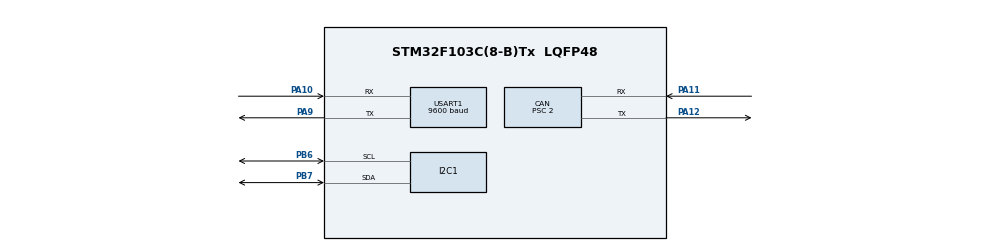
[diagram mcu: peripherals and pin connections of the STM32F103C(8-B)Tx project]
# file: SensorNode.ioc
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CAN.BS1=CAN_BS1_13TQ
CAN.BS2=CAN_BS2_2TQ
CAN.CalculateBaudRate=250000
CAN.CalculateTimeBit=4000
CAN.CalculateTimeQuantum=250.0
CAN.Prescaler=2
FREERTOS.BinarySemaphores01=UARTSem,Dynamic,NULL,Available
FREERTOS.Tasks01=DefaultTask,-3,128,StartDefaultTask,Default,NULL,Dynamic,NULL,NULL;CANTask,1,128,StartCANTask,Default,NULL,Dynamic,NULL,NULL;SensorTask,0,256,StartSensorTask,Default,NULL,Dynamic,NULL,NULL
FREERTOS.configCHECK_FOR_STACK_OVERFLOW=1
FREERTOS.configTOTAL_HEAP_SIZE=10240
Mcu.Family=STM32F1
Mcu.Name=STM32F103C(8-B)Tx
Mcu.Package=LQFP48
NVIC.PriorityGroup=NVIC_PRIORITYGROUP_4
NVIC.TIM1_UP_IRQn=true\:15\:0\:false\:false\:true\:false\:false\:true\:true
NVIC.TimeBase=TIM1_UP_IRQn
NVIC.TimeBaseIP=TIM1
NVIC.USART1_IRQn=true\:0\:0\:true\:false\:true\:false\:true\:true\:true
NVIC.USB_LP_CAN1_RX0_IRQn=true\:5\:0\:false\:false\:true\:true\:true\:true\:true
PA10.GPIO_PuPd=GPIO_NOPULL
PA10.Mode=Asynchronous
PA10.Signal=USART1_RX
PA11.Mode=CAN_Activate
PA11.Signal=CAN_RX
PA12.Mode=CAN_Activate
PA12.Signal=CAN_TX
PA13.Mode=Serial_Wire
PA13.Signal=SYS_JTMS-SWDIO
PA14.Mode=Serial_Wire
PA14.Signal=SYS_JTCK-SWCLK
PA9.Mode=Asynchronous
PA9.Signal=USART1_TX
PB6.Mode=I2C
PB6.Signal=I2C1_SCL
PB7.Mode=I2C
PB7.Signal=I2C1_SDA
PD0-OSC_IN.Mode=HSE-External-Oscillator
PD0-OSC_IN.Signal=RCC_OSC_IN
PD1-OSC_OUT.Mode=HSE-External-Oscillator
PD1-OSC_OUT.Signal=RCC_OSC_OUT
ProjectManager.HeapSize=0x200
ProjectManager.StackSize=0x400
ProjectManager.TargetToolchain=MDK-ARM V5.32
RCC.APB1Freq_Value=8000000
RCC.APB2Freq_Value=8000000
RCC.EnbaleCSS=true
RCC.PLLSourceVirtual=RCC_PLLSOURCE_HSE
RCC.SYSCLKSource=RCC_SYSCLKSOURCE_HSE
RCC.USBFreq_Value=16000000
USART1.BaudRate=9600
USART1.VirtualMode=VM_ASYNC
VP_FREERTOS_VS_CMSIS_V1.Mode=CMSIS_V1
VP_SYS_VS_tim1.Mode=TIM1
board=custom

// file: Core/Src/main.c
/* USER CODE BEGIN Header */
/**
  ******************************************************************************
  * @file           : main.c
  * @brief          : Main program body
  ******************************************************************************
  * @attention
  *
  * Copyright (c) 2026 STMicroelectronics.
  * All rights reserved.
  *
  * This software is licensed under terms that can be found in the LICENSE file
  * in the root directory of this software component.
  * If no LICENSE file comes with this software, it is provided AS-IS.
  *
  ******************************************************************************
  */
/* USER CODE END Header */
#include "main.h"
#include "cmsis_os.h"

/* USER CODE BEGIN Includes */
#include <stdio.h>
#include <string.h>

/* USER CODE END Includes */

/* USER CODE BEGIN PTD */
typedef struct {
	I2C_HandleTypeDef *i2c;
	uint8_t i2c_addr;
	float temp;
	float hum;
	float press;
} Bme280_t;
/* USER CODE END PTD */

/* USER CODE BEGIN PD */
#define BME280_ADDR (0x76 << 1 )

#define BME280_REG_CHIP_ID 0xD0
/* USER CODE END PD */

CAN_HandleTypeDef hcan;

I2C_HandleTypeDef hi2c1;

UART_HandleTypeDef huart1;

osThreadId DefaultTaskHandle;
osThreadId CANTaskHandle;
osThreadId SensorTaskHandle;
osSemaphoreId UARTSemHandle;

void SystemClock_Config(void);
static void MX_GPIO_Init(void);
static void MX_USART1_UART_Init(void);
static void MX_I2C1_Init(void);
static void MX_CAN_Init(void);
void StartDefaultTask(void const * argument);
void StartCANTask(void const * argument);
void StartSensorTask(void const * argument);

/* USER CODE BEGIN PFP */
void BME280_Init(Bme280_t *bme280, I2C_HandleTypeDef *i2c, uint8_t address);
float BME280_ReadTemperature(Bme280_t *bme280);
float BME280_ReadHumidity(Bme280_t *bme280);
void BME280_ReadCalibration(Bme280_t *bme280);
void Send_Sensor_Data_CAN(float p, float t, float h);
/* USER CODE END PFP */

/* USER CODE BEGIN 0 */
uint16_t dig_T1;
int16_t dig_T2, dig_T3;

uint8_t dig_H1, dig_H3;
int16_t dig_H2, dig_H4, dig_H5;
int8_t dig_H6;

int32_t t_fine;
uint8_t chip_id = 0;
HAL_StatusTypeDef test_status;
float temp, hum;
Bme280_t myBME280;

uint8_t rx_byte;
uint8_t buf[32];
uint8_t rx_index = 0;

volatile uint16_t pm25 = 0;
volatile uint8_t frame_ready = 0;
float pm25_stable = 0;

volatile uint32_t last_update = 0;
volatile uint32_t pm_sum = 0;
volatile uint32_t pm_count = 0;

CAN_TxHeaderTypeDef TxHeader;
uint8_t TxData[8];
uint32_t TxMailbox;
/* USER CODE END 0 */

int main(void)
{

  /* MCU Configuration--------------------------------------------------------*/

  /* Reset of all peripherals, Initializes the Flash interface and the Systick. */
  HAL_Init();

  /* Configure the system clock */
  SystemClock_Config();

  /* Initialize all configured peripherals */
  MX_GPIO_Init();
  MX_USART1_UART_Init();
  MX_I2C1_Init();
  MX_CAN_Init();
  /* USER CODE BEGIN 2 */

	HAL_UART_Receive_IT(&huart1, &rx_byte, 1);

	BME280_Init(&myBME280, &hi2c1, BME280_ADDR);

	HAL_CAN_Start(&hcan);

	TxHeader.StdId = 0x123;
	TxHeader.RTR = CAN_RTR_DATA;
	TxHeader.IDE = CAN_ID_STD;
	TxHeader.DLC = 8;
	TxHeader.TransmitGlobalTime = DISABLE;

	// Th? d?a ch? 0x76 (ph? bi?n nh?t cho module t�m)
test_status = HAL_I2C_Mem_Read(&hi2c1, (0x76 << 1), 0xD0, I2C_MEMADD_SIZE_8BIT, &chip_id, 1, 100);

if (test_status != HAL_OK) {
    // N?u l?i, th? ti?p d?a ch? 0x77
    test_status = HAL_I2C_Mem_Read(&hi2c1, (0x77 << 1), 0xD0, I2C_MEMADD_SIZE_8BIT, &chip_id, 1, 100);
}
  /* USER CODE END 2 */

  /* Create the semaphores(s) */
  /* definition and creation of UARTSem */
  osSemaphoreDef(UARTSem);
  UARTSemHandle = osSemaphoreCreate(osSemaphore(UARTSem), 1);

  /* USER CODE BEGIN RTOS_SEMAPHORES */
  /* add semaphores, ... */
	osSemaphoreWait(UARTSemHandle, 0);
  /* USER CODE END RTOS_SEMAPHORES */

  /* Create the thread(s) */
  /* definition and creation of DefaultTask */
  osThreadDef(DefaultTask, StartDefaultTask, osPriorityIdle, 0, 128);
  DefaultTaskHandle = osThreadCreate(osThread(DefaultTask), NULL);

  /* definition and creation of CANTask */
  osThreadDef(CANTask, StartCANTask, osPriorityAboveNormal, 0, 128);
  CANTaskHandle = osThreadCreate(osThread(CANTask), NULL);

  /* definition and creation of SensorTask */
  osThreadDef(SensorTask, StartSensorTask, osPriorityNormal, 0, 256);
  SensorTaskHandle = osThreadCreate(osThread(SensorTask), NULL);

  /* Start scheduler */
  osKernelStart();

  /* We should never get here as control is now taken by the scheduler */

  /* Infinite loop */
  while (1)
	{

  }
}

void SystemClock_Config(void)
{
  RCC_OscInitTypeDef RCC_OscInitStruct = {0};
  RCC_ClkInitTypeDef RCC_ClkInitStruct = {0};

  /** Initializes the RCC Oscillators according to the specified parameters
  * in the RCC_OscInitTypeDef structure.
  */
  RCC_OscInitStruct.OscillatorType = RCC_OSCILLATORTYPE_HSE;
  RCC_OscInitStruct.HSEState = RCC_HSE_ON;
  RCC_OscInitStruct.PLL.PLLState = RCC_PLL_NONE;
  if (HAL_RCC_OscConfig(&RCC_OscInitStruct) != HAL_OK)
  {
    Error_Handler();
  }

  /** Initializes the CPU, AHB and APB buses clocks
  */
  RCC_ClkInitStruct.ClockType = RCC_CLOCKTYPE_HCLK|RCC_CLOCKTYPE_SYSCLK
                              |RCC_CLOCKTYPE_PCLK1|RCC_CLOCKTYPE_PCLK2;
  RCC_ClkInitStruct.SYSCLKSource = RCC_SYSCLKSOURCE_HSE;
  RCC_ClkInitStruct.AHBCLKDivider = RCC_SYSCLK_DIV1;
  RCC_ClkInitStruct.APB1CLKDivider = RCC_HCLK_DIV1;
  RCC_ClkInitStruct.APB2CLKDivider = RCC_HCLK_DIV1;

  if (HAL_RCC_ClockConfig(&RCC_ClkInitStruct, FLASH_LATENCY_0) != HAL_OK)
  {
    Error_Handler();
  }

  /** Enables the Clock Security System
  */
  HAL_RCC_EnableCSS();
}

static void MX_CAN_Init(void)
{

  hcan.Instance = CAN1;
  hcan.Init.Prescaler = 2;
  hcan.Init.Mode = CAN_MODE_NORMAL;
  hcan.Init.SyncJumpWidth = CAN_SJW_1TQ;
  hcan.Init.TimeSeg1 = CAN_BS1_13TQ;
  hcan.Init.TimeSeg2 = CAN_BS2_2TQ;
  hcan.Init.TimeTriggeredMode = DISABLE;
  hcan.Init.AutoBusOff = DISABLE;
  hcan.Init.AutoWakeUp = DISABLE;
  hcan.Init.AutoRetransmission = DISABLE;
  hcan.Init.ReceiveFifoLocked = DISABLE;
  hcan.Init.TransmitFifoPriority = DISABLE;
  if (HAL_CAN_Init(&hcan) != HAL_OK)
  {
    Error_Handler();
  }

}

static void MX_I2C1_Init(void)
{

  hi2c1.Instance = I2C1;
  hi2c1.Init.ClockSpeed = 100000;
  hi2c1.Init.DutyCycle = I2C_DUTYCYCLE_2;
  hi2c1.Init.OwnAddress1 = 0;
  hi2c1.Init.AddressingMode = I2C_ADDRESSINGMODE_7BIT;
  hi2c1.Init.DualAddressMode = I2C_DUALADDRESS_DISABLE;
  hi2c1.Init.OwnAddress2 = 0;
  hi2c1.Init.GeneralCallMode = I2C_GENERALCALL_DISABLE;
  hi2c1.Init.NoStretchMode = I2C_NOSTRETCH_DISABLE;
  if (HAL_I2C_Init(&hi2c1) != HAL_OK)
  {
    Error_Handler();
  }

}

static void MX_USART1_UART_Init(void)
{

  huart1.Instance = USART1;
  huart1.Init.BaudRate = 9600;
  huart1.Init.WordLength = UART_WORDLENGTH_8B;
  huart1.Init.StopBits = UART_STOPBITS_1;
  huart1.Init.Parity = UART_PARITY_NONE;
  huart1.Init.Mode = UART_MODE_TX_RX;
  huart1.Init.HwFlowCtl = UART_HWCONTROL_NONE;
  huart1.Init.OverSampling = UART_OVERSAMPLING_16;
  if (HAL_UART_Init(&huart1) != HAL_OK)
  {
    Error_Handler();
  }

}

static void MX_GPIO_Init(void)
{

  /* GPIO Ports Clock Enable */
  __HAL_RCC_GPIOD_CLK_ENABLE();
  __HAL_RCC_GPIOA_CLK_ENABLE();
  __HAL_RCC_GPIOB_CLK_ENABLE();

}

/* USER CODE BEGIN 4 */
void BME280_ReadCalibration(Bme280_t *bme280)
{
		uint8_t data[6];

		HAL_I2C_Mem_Read(bme280->i2c, bme280->i2c_addr, 0x88, 1, data, 6, 100);

		dig_T1 = (data[1] << 8)|data[0];
		dig_T2 = (data[3] << 8)|data[2];
		dig_T3 = (data[5] << 8)|data[4];

		HAL_I2C_Mem_Read(bme280->i2c, bme280->i2c_addr, 0xA1, 1, &dig_H1, 1, 100);
		uint8_t hdata[7];

		HAL_I2C_Mem_Read(bme280->i2c, bme280->i2c_addr, 0xE1, 1, hdata, 7, 100);

		dig_H2 = (hdata[1] << 8)|hdata[0];
		dig_H3 = hdata[2];
		dig_H4 = (hdata[3]<<4)|(hdata[4]&0x0F);
		dig_H5 = (hdata[5]<<4)|(hdata[4]>>4);
		dig_H6 = hdata[6];
}

void BME280_Init(Bme280_t *bme280, I2C_HandleTypeDef *i2c, uint8_t address)
{
	bme280->i2c = i2c;
	bme280->i2c_addr = address;
		uint8_t data;

		data = 0x01;
		HAL_I2C_Mem_Write(bme280->i2c, bme280->i2c_addr, 0xF2, 1, &data, 1, 100);

		data = 0x23;
		HAL_I2C_Mem_Write(bme280->i2c, bme280->i2c_addr, 0xF4, 1, &data, 1, 100);

		BME280_ReadCalibration(bme280);

}

float BME280_ReadTemperature(Bme280_t *bme280)
{
		uint8_t data[3];
		int32_t adc_T;
		int32_t var1, var2;
		float T;

		HAL_I2C_Mem_Read(bme280->i2c, bme280->i2c_addr, 0xFA, 1, data, 3, 100);

		adc_T = ((uint32_t)data[0]<<12)|((uint32_t)data[1]<<4)|(data[2]>>4);

		var1 = ((((adc_T>>3)-((int32_t)dig_T1<<1)))*((int32_t)dig_T2))>>11;

		var2 = (((((adc_T>>4)-((int32_t)dig_T1))*((adc_T>>4)-((int32_t)dig_T1)))>>12)*((int32_t)dig_T3))>>14;

		t_fine = var1+var2;

		T = (t_fine*5+128)>>8;
		T = T/100;

		return T;
}

float BME280_ReadHumidity(Bme280_t *bme280)
{
		uint8_t data[2];
		int32_t adc_H;
		int32_t v_x1;
		float h;

		HAL_I2C_Mem_Read(bme280->i2c, bme280->i2c_addr, 0xFD, 1, data, 2, 100);

		adc_H = (data[0]<<8)|data[1];

		v_x1 = t_fine - 76800;

		v_x1 = (((((adc_H<<14)-((int32_t)dig_H4<<20)-((int32_t)dig_H5*v_x1))+16384)>>15)*(((((((v_x1*(int32_t)dig_H6)>>10)*(((v_x1*(int32_t)dig_H3)>>11)+32768))>>10)+2097152)*(int32_t)dig_H2+8192)>>14));

		v_x1 = v_x1 - (((((v_x1>>15)*(v_x1>>15))>>7)*(int32_t)dig_H1)>>4);

		if(v_x1<0)	v_x1 = 0;
		if(v_x1>419430400) v_x1 = 419430400;

		h = (v_x1>>12);
		h = h/1024.0;

		return h;
}

void HAL_UART_RxCpltCallback(UART_HandleTypeDef*huart)
{
		if(huart->Instance == USART1)
		{
				if(rx_index == 0 && rx_byte != 0x42)
				{
						HAL_UART_Receive_IT(&huart1, &rx_byte, 1);
						return;
				}

				if(rx_index == 1 && rx_byte != 0x4D)
				{
						rx_index = 0;
						HAL_UART_Receive_IT(&huart1, &rx_byte, 1);
						return;
				}

				buf[rx_index++] = rx_byte;

				if(rx_index >= 32)
				{
						rx_index = 0;

						uint16_t sum = 0;
						for(int i = 0; i<30; i++)	sum+= buf[i];

						uint16_t checksum = (buf[30] << 8) | buf[31];

						if(sum == checksum)
						{
								pm25 = (buf[12] << 8) | buf[13];
								frame_ready = 1;
						}
				}

				HAL_UART_Receive_IT(&huart1, &rx_byte, 1);
		}
}

void Send_Sensor_Data_CAN(float p, float t, float h)
{
		if(HAL_CAN_GetTxMailboxesFreeLevel(&hcan) > 0)
		{
				int16_t p_send = (int16_t)(p*10);
				int16_t t_send = (int16_t)(t*100);
				int16_t h_send = (int16_t)(h*100);

				TxData[0] = (p_send >> 8) & 0xFF;
				TxData[1] = p_send & 0xFF;
				TxData[2] = (t_send >> 8) & 0xFF;
				TxData[3] = t_send & 0xFF;
				TxData[4] = (h_send >> 8) & 0xFF;
				TxData[5] = h_send & 0xFF;
				TxData[6] = 0x00;
				TxData[7] = 0x00;

				HAL_CAN_AddTxMessage(&hcan, &TxHeader, TxData, &TxMailbox);
		}
}
/* USER CODE END 4 */

void StartDefaultTask(void const * argument)
{
  for(;;)
  {
    osDelay(1);
  }
}

void StartCANTask(void const * argument)
{
  /* USER CODE BEGIN StartCANTask */
  /* Infinite loop */
  for(;;)
  {
			if(osSemaphoreWait(UARTSemHandle, osWaitForever) == osOK)
			{
					Send_Sensor_Data_CAN(pm25_stable, temp, hum);
			}
  }
  /* USER CODE END StartCANTask */
}

void StartSensorTask(void const * argument)
{
  /* USER CODE BEGIN StartSensorTask */
  /* Infinite loop */
	static uint32_t timer_count = 0;
  for(;;)
  {
			if(frame_ready)
			{
					pm_count++;
					pm_sum += pm25;
					frame_ready = 0;
			}

			timer_count += 100;

			if(timer_count >= 10000)
			{
					if(pm_count > 0)
					{
							pm25_stable = (float)pm_sum / pm_count;
					}

					temp = BME280_ReadTemperature(&myBME280);
					hum = BME280_ReadHumidity(&myBME280);

					taskENTER_CRITICAL();
					pm_sum = 0;
					pm_count = 0;
					taskEXIT_CRITICAL();

					timer_count = 0;

					osSemaphoreRelease(UARTSemHandle);
			}

			osDelay(100);
  }
  /* USER CODE END StartSensorTask */
}

void HAL_TIM_PeriodElapsedCallback(TIM_HandleTypeDef *htim)
{
  if (htim->Instance == TIM1)
  {
    HAL_IncTick();
  }
}

void Error_Handler(void)
{
  __disable_irq();
  while (1)
  {
  }
}

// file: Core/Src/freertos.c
/* USER CODE BEGIN Header */
/**
  ******************************************************************************
  * File Name          : freertos.c
  * Description        : Code for freertos applications
  ******************************************************************************
  * @attention
  *
  * Copyright (c) 2026 STMicroelectronics.
  * All rights reserved.
  *
  * This software is licensed under terms that can be found in the LICENSE file
  * in the root directory of this software component.
  * If no LICENSE file comes with this software, it is provided AS-IS.
  *
  ******************************************************************************
  */
/* USER CODE END Header */

#include "FreeRTOS.h"
#include "task.h"
#include "main.h"

/* GetIdleTaskMemory prototype (linked to static allocation support) */
void vApplicationGetIdleTaskMemory( StaticTask_t **ppxIdleTaskTCBBuffer, StackType_t **ppxIdleTaskStackBuffer, uint32_t *pulIdleTaskStackSize );

/* Hook prototypes */
void vApplicationStackOverflowHook(xTaskHandle xTask, signed char *pcTaskName);

/* USER CODE BEGIN 4 */
__weak void vApplicationStackOverflowHook(xTaskHandle xTask, signed char *pcTaskName)
{
   /* Run time stack overflow checking is performed if
   configCHECK_FOR_STACK_OVERFLOW is defined to 1 or 2. This hook function is
   called if a stack overflow is detected. */
}
/* USER CODE END 4 */

/* USER CODE BEGIN GET_IDLE_TASK_MEMORY */
static StaticTask_t xIdleTaskTCBBuffer;
static StackType_t xIdleStack[configMINIMAL_STACK_SIZE];

void vApplicationGetIdleTaskMemory( StaticTask_t **ppxIdleTaskTCBBuffer, StackType_t **ppxIdleTaskStackBuffer, uint32_t *pulIdleTaskStackSize )
{
  *ppxIdleTaskTCBBuffer = &xIdleTaskTCBBuffer;
  *ppxIdleTaskStackBuffer = &xIdleStack[0];
  *pulIdleTaskStackSize = configMINIMAL_STACK_SIZE;
  /* place for user code */
}
/* USER CODE END GET_IDLE_TASK_MEMORY */
